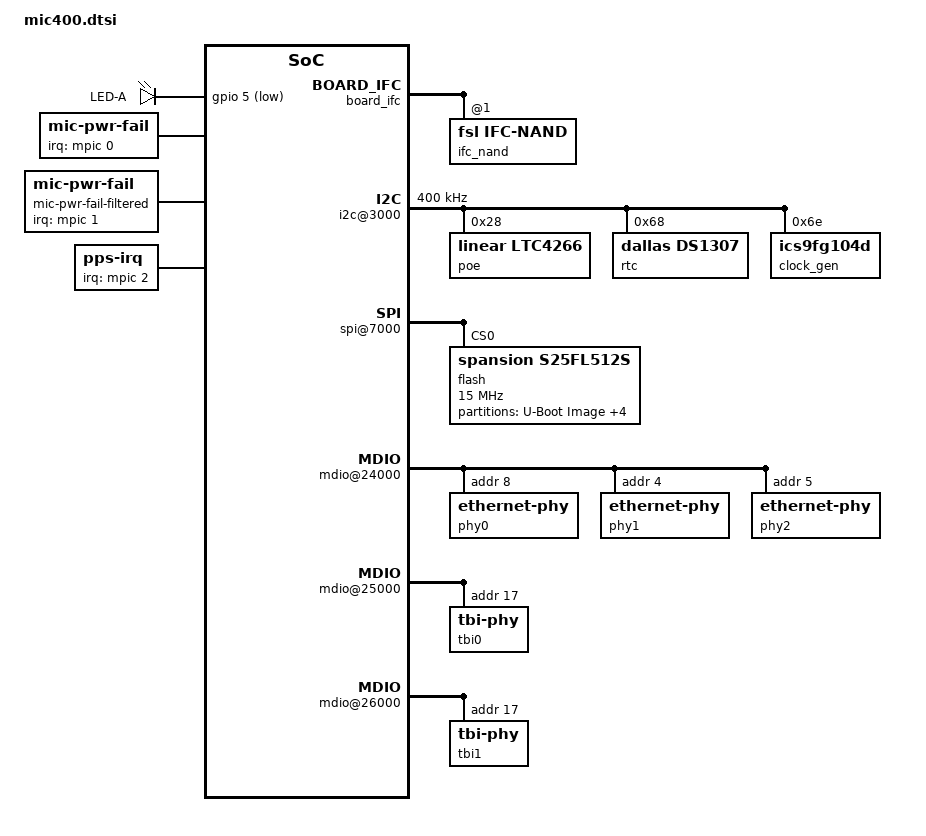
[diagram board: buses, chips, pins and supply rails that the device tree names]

&board_ifc {

	ifc_nand: nand@1,0 {
		#address-cells = <1>;
		#size-cells = <1>;
		compatible = "fsl,ifc-nand";
		reg = <0x1 0x0 0x10000>;
	};
};

&board_soc {
	i2c@3000 {
		clock-frequency = < 400000 >;

		poe@28 {
			compatible = "linear,ltc4266";
			reg = <0x28>;
		};
		rtc@68 {
			compatible = "dallas,ds1307";
			reg = <0x68>;
		};
		clock_gen@6e {
			compatible = "ics9fg104d";
			reg = <0x6e>;
		};
	};

	i2c@3100 {
		clock-frequency = < 400000 >;
	};

	spi@7000 {
		flash@0 {
			#address-cells = <1>;
			#size-cells = <1>;
			compatible = "spansion,s25fl512s";
			reg = <0>;
			spi-max-frequency = <15000000>;

			/* These should match the values from U-boot */
			partition@0000000 { reg = <0x0000000 0x00C0000>; label = "U-Boot Image"; read-only; };
			partition@00C0000 { reg = <0x00C0000 0x0040000>; label = "U-Boot Environment"; read-only; };
			partition@0100000 { reg = <0x0100000 0x0F00000>; label = "Rescue Linux Kernel"; };
			partition@1000000 { reg = <0x1000000 0x0040000>; label = "Calibration File System"; };
			partition@1040000 { reg = <0x1040000 0x04C0000>; label = "Resistant File System"; };
		};
	};

	sata@18000 {
		status = "disabled";
	};

	sata@19000 {
		status = "disabled";
	};

	can0: can@1c000 {
		status = "disabled";
	};

	can1: can@1d000 {
		status = "disabled";
	};

	usb@22000 {
		dr_mode = "peripheral";
		phy_type = "utmi";
	};

	mdio@24000 {
		phy0: ethernet-phy@0 {
			reg = <0x8>;
		};

		phy1: ethernet-phy@1 {
	/* This value will/might get updated by the mic400
	U-boot code; mic400.c::ft_board_setup.  The value of
	'4' is correct for the MIC400-2, and probably all
	later boards.  The MIC400-1 needed a value of '3'. */
			reg = <0x4>;
		};

		phy2: ethernet-phy@2 {
	/* This value will/might get updated by the mic400
	U-boot code; mic400.c::ft_board_setup.  The value of
	'5' is correct for the MIC400-2, and probably all
	later boards.  The MIC400-1 needed a value of '2'. */
			reg = <0x5>;
		};
	};

	mdio@25000 {
		tbi0: tbi-phy@11 {
			reg = <0x11>;
			device_type = "tbi-phy";
		};
	};

	mdio@26000 {
		tbi1: tbi-phy@11 {
			reg = <0x11>;
			device_type = "tbi-phy";
		};
	};

	sdhc@2e000 {
		status = "disabled";
	};

	crypto@30000 {
	};

	/*
	 * TimerOsc     = system clock			MHz
	 * tclk_period  = desired clock period		nanoseconds
	 * NominalFreq  = 1000 / tclk_period		MHz
	 * FreqDivRatio = TimerOsc / NominalFreq	(must be greater that 1.0)
	 * tmr_add      = ceil(2^32 / FreqDivRatio)
	 * OutputClock  = NominalFreq / tmr_prsc	MHz
	 * PulseWidth   = 1 / OutputClock		microseconds
	 * FiperFreq1   = desired frequency in Hz
	 * FiperDiv1    = 1000000 * OutputClock / FiperFreq1
	 * tmr_fiper1   = tclk_period * (tmr_prsc * FiperDiv1 - 1)
	 * max_adj      = 1000000000 * (FreqDivRatio - 1.0) - 1
	 */

	/* 3 usec pulse */

        ptp_clock@b0e00 {
		compatible = "fsl,etsec-ptp";
		reg = <0xb0e00 0xb0>;
		interrupts = <68 2 0 0 69 2 0 0 70 2 0 0>;
		fsl,tclk-period = <8>; 
		fsl,tmr-prsc =	 <500>; 
		fsl,tmr-add =	 <0x66666667>; 
		fsl,tmr-fiper1 = <999999992>;
		fsl,tmr-fiper2 = <999999992>;
		fsl,max-adj =	 <0x59682EFF>;
		fsl,cksel =      <0x00>;
                fsl,bypass =     <1>;
	};

	ethernet@b0000 {
		status = "disabled";
	};

	ethernet@b1000 {
		phy-handle = <&phy1>;
		tbi-handle = <&tbi0>;
		phy-connection-type = "sgmii";
		rx-napi-map = <0x1F>;
		non-napi-tx;
	};

	ethernet@b2000 {
		phy-handle = <&phy2>;
		tbi-handle = <&tbi1>;
		phy-connection-type = "sgmii";
		rx-napi-map = <0x1F>;
		non-napi-tx;
	};

	gpio: gpio-controller@fc00 {
	};

	leds {
		compatible = "gpio-leds";
		LED-A {
			/* LED D7, on the edge of the board. */
			gpios = <&gpio 5 1>;
			default-state = "keep";
		};
	};

	mic-pwr-fail {
		compatible = "mic-pwr-fail", "maio-pwr-fail";
		interrupt-parent = <&mpic>;
		interrupts = <0 0 0 0>;
	};

	mic-pwr-fail-filtered {
		compatible = "mic-pwr-fail", "maio-pwr-fail";
		interrupt-parent = <&mpic>;
		interrupts = <1 0 0 0>;
	};

	pps-irq {
		compatible = "pps-irq";
		interrupt-parent = <&mpic>;
		/* the following line  means:
		   it's interrupt pin IRQ2
		   it's low to high triggered
		   see also Documentation/devicetree/bindings/powerpc/fsl/mpic.txt
		*/
		interrupts = <2 0 0 0>;
	};
};

/ {
	aliases {
		/delete-property/ can0;
		/delete-property/ can1;
		ethernet0 = &enet1;
		ethernet1 = &enet2;
		/delete-property/ ethernet2;
	};
};
